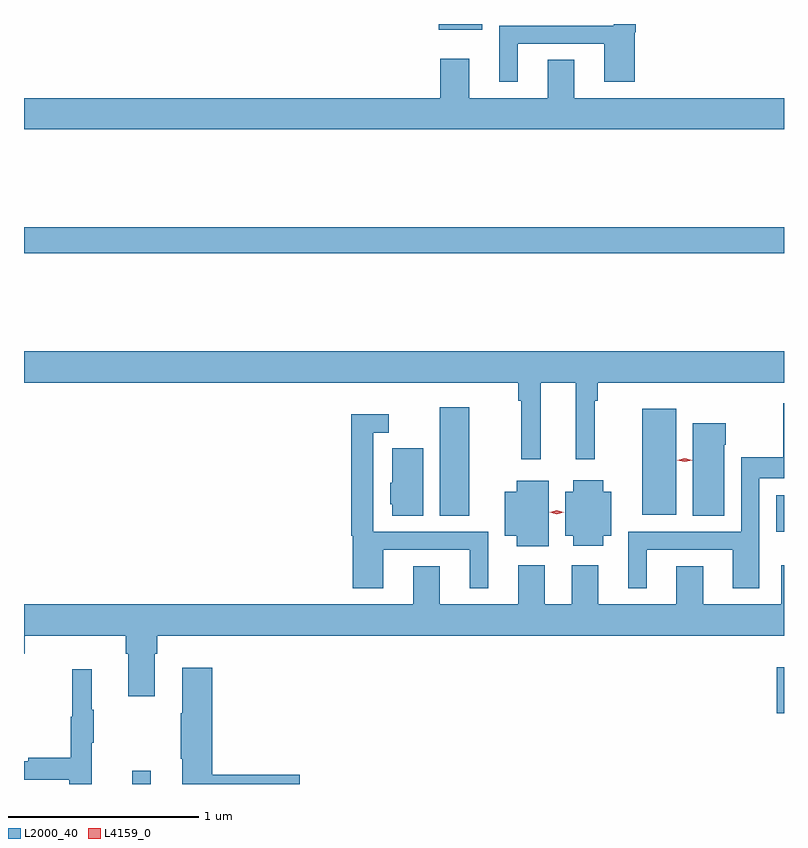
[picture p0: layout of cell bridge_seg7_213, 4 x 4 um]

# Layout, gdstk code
import gdstk
lib = gdstk.Library(unit=1e-6, precision=1e-09)
def R(c, l, rs):  # rectangles x0, y0, x1, y1
    for r in rs: c.add(gdstk.rectangle(r[:2], r[2:], *l))
def P(c, l, *ps):  # polygons
    for p in ps: c.add(gdstk.Polygon(p, *l))
L2000_40 = (2000, 40)
L4159_0 = (4159, 0)

bridge_seg7_213 = lib.new_cell('bridge_seg7_213')
R(bridge_seg7_213, L2000_40, [(274.077,1015.819,274.174,1015.888), (277.469,1016.192,277.507,1016.434), (277.466,1017.146,277.507,1017.34), (275.696,1017.232,275.851,1017.802), (276.761,1017.236,276.94,1017.793), (273.507,1018.612,277.507,1018.748), (275.69,1019.789,275.92,1019.819)])
P(bridge_seg7_213, L2000_40, [(276.106,1019.715),(276.56,1019.715),(276.56,1019.514),(276.722,1019.514),(276.722,1019.775),(276.728,1019.775),(276.728,1019.819),(276.612,1019.819),(276.612,1019.811),(276.008,1019.811),(276.008,1019.514),(276.106,1019.514)],
  [(277.507,1019.428),(276.403,1019.428),(276.403,1019.63),(276.263,1019.63),(276.263,1019.428),(275.851,1019.428),(275.851,1019.635),(275.699,1019.635),(275.699,1019.428),(273.507,1019.428),(273.507,1019.264),(277.507,1019.264)],
  [(276.227,1017.932),(276.41,1017.932),(276.41,1017.528),(276.51,1017.528),(276.51,1017.836),(276.527,1017.836),(276.527,1017.932),(277.507,1017.932),(277.507,1018.096),(273.507,1018.096),(273.507,1017.932),(276.109,1017.932),(276.109,1017.836),(276.124,1017.836),(276.124,1017.528),(276.227,1017.528)],
  [(276.784,1017.051),(277.238,1017.051),(277.238,1016.85),(277.377,1016.85),(277.377,1017.429),(277.507,1017.429),(277.507,1017.823),(277.503,1017.823),(277.503,1017.538),(277.281,1017.538),(277.281,1017.147),(276.686,1017.147),(276.686,1016.85),(276.784,1016.85)],
  [(275.398,1017.051),(275.852,1017.051),(275.852,1016.85),(275.95,1016.85),(275.95,1017.147),(275.346,1017.147),(275.346,1017.669),(275.428,1017.669),(275.428,1017.766),(275.23,1017.766),(275.23,1017.126),(275.237,1017.126),(275.237,1016.85),(275.398,1016.85)],
  [(277.192,1017.605),(277.2,1017.605),(277.2,1017.718),(277.028,1017.718),(277.028,1017.232),(277.192,1017.232)],
  [(275.608,1017.586),(275.444,1017.586),(275.444,1017.405),(275.435,1017.405),(275.435,1017.291),(275.444,1017.291),(275.444,1017.232),(275.608,1017.232)],
  [(276.556,1017.125),(276.598,1017.125),(276.598,1017.358),(276.556,1017.358),(276.556,1017.418),(276.398,1017.418),(276.398,1017.358),(276.356,1017.358),(276.356,1017.125),(276.398,1017.125),(276.398,1017.074),(276.556,1017.074)],
  [(276.268,1017.415),(276.101,1017.415),(276.101,1017.358),(276.038,1017.358),(276.038,1017.125),(276.101,1017.125),(276.101,1017.071),(276.268,1017.071)],
  [(274.195,1016.504),(274.208,1016.504),(274.208,1016.6),(277.507,1016.6),(277.507,1016.971),(277.493,1016.971),(277.493,1016.764),(277.081,1016.764),(277.081,1016.966),(276.941,1016.966),(276.941,1016.764),(276.529,1016.764),(276.529,1016.971),(276.389,1016.971),(276.389,1016.764),(276.247,1016.764),(276.247,1016.971),(276.107,1016.971),(276.107,1016.764),(275.695,1016.764),(275.695,1016.966),(275.555,1016.966),(275.555,1016.764),(273.507,1016.764),(273.507,1016.504),(273.512,1016.504),(273.512,1016.6),(274.043,1016.6),(274.043,1016.504),(274.055,1016.504),(274.055,1016.28),(274.195,1016.28)],
  [(274.957,1015.868),(274.499,1015.868),(274.499,1016.431),(274.34,1016.431),(274.34,1016.192),(274.333,1016.192),(274.333,1015.951),(274.34,1015.951),(274.34,1015.819),(274.957,1015.819)],
  [(273.863,1016.035),(273.874,1016.035),(273.874,1016.209),(273.863,1016.209),(273.863,1016.422),(273.76,1016.422),(273.76,1016.172),(273.753,1016.172),(273.753,1015.958),(273.529,1015.958),(273.529,1015.938),(273.507,1015.938),(273.507,1015.842),(273.745,1015.842),(273.745,1015.819),(273.863,1015.819)])
P(bridge_seg7_213, L4159_0, [(276.311,1017.239),(276.274,1017.249),(276.274,1017.249),(276.274,1017.249),(276.311,1017.259),(276.349,1017.249),(276.349,1017.249),(276.349,1017.249)],
  [(276.984,1017.514),(276.944,1017.524),(276.944,1017.524),(276.944,1017.524),(276.984,1017.534),(277.024,1017.523),(277.024,1017.523),(277.024,1017.523)])

lib.write_gds('bridge_seg7_213.gds')
